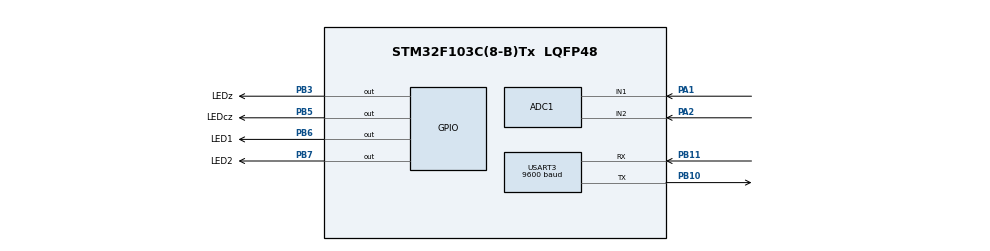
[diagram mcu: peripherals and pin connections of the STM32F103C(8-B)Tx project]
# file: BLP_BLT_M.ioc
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ADC1.Channel-0\#ChannelRegularConversion=ADC_CHANNEL_1
ADC1.Channel-1\#ChannelRegularConversion=ADC_CHANNEL_2
ADC1.ContinuousConvMode=ENABLE
ADC1.EnableInjectedConversion=ENABLE
ADC1.NbrOfConversion=2
ADC1.NbrOfConversionFlag=1
ADC1.Rank-0\#ChannelRegularConversion=1
ADC1.Rank-1\#ChannelRegularConversion=2
ADC1.SamplingTime-0\#ChannelRegularConversion=ADC_SAMPLETIME_1CYCLE_5
ADC1.SamplingTime-1\#ChannelRegularConversion=ADC_SAMPLETIME_1CYCLE_5
ADC1.master=1
Mcu.Family=STM32F1
Mcu.Name=STM32F103C(8-B)Tx
Mcu.Package=LQFP48
NVIC.ADC1_2_IRQn=true\:0\:0\:false\:false\:true\:true\:true\:true
NVIC.PriorityGroup=NVIC_PRIORITYGROUP_4
NVIC.USART3_IRQn=true\:0\:0\:false\:false\:true\:true\:true\:true
PA1.Signal=ADCx_IN1
PA13.Mode=Serial_Wire
PA13.Signal=SYS_JTMS-SWDIO
PA14.Mode=Serial_Wire
PA14.Signal=SYS_JTCK-SWCLK
PA2.Signal=ADCx_IN2
PB10.Mode=Asynchronous
PB10.Signal=USART3_TX
PB11.Mode=Asynchronous
PB11.Signal=USART3_RX
PB3.GPIO_Label=LEDz
PB3.Signal=GPIO_Output
PB5.GPIO_Label=LEDcz
PB5.Signal=GPIO_Output
PB6.GPIO_Label=LED1
PB6.Signal=GPIO_Output
PB7.GPIO_Label=LED2
PB7.Signal=GPIO_Output
PD0-OSC_IN.Mode=HSE-External-Oscillator
PD0-OSC_IN.Signal=RCC_OSC_IN
PD1-OSC_OUT.Mode=HSE-External-Oscillator
PD1-OSC_OUT.Signal=RCC_OSC_OUT
ProjectManager.HeapSize=0x200
ProjectManager.StackSize=0x400
ProjectManager.TargetToolchain=STM32CubeIDE
RCC.APB1Freq_Value=8000000
RCC.APB2Freq_Value=8000000
SH.ADCx_IN1.0=ADC1_IN1,IN1
SH.ADCx_IN2.0=ADC1_IN2,IN2
USART3.BaudRate=9600
USART3.VirtualMode=VM_ASYNC
board=custom

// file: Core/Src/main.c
/* USER CODE BEGIN Header */
/**
  ******************************************************************************
  * @file           : main.c
  * @brief          : Main program body
  ******************************************************************************
  * @attention
  *
  * Copyright (c) 2023 STMicroelectronics.
  * All rights reserved.
  *
  * This software is licensed under terms that can be found in the LICENSE file
  * in the root directory of this software component.
  * If no LICENSE file comes with this software, it is provided AS-IS.
  *
  ******************************************************************************
  */
/* USER CODE END Header */
#include "main.h"

/* USER CODE BEGIN Includes */
#include <string.h>
//#define BUFFER_LEN 1
/* USER CODE END Includes */

ADC_HandleTypeDef hadc1;

UART_HandleTypeDef huart3;

void SystemClock_Config(void);
static void MX_GPIO_Init(void);
static void MX_ADC1_Init(void);
static void MX_USART3_UART_Init(void);

/* USER CODE BEGIN 0 */

UART_HandleTypeDef huart1;

#define BUFFER_LEN 1

uint8_t TX_BUFFER[BUFFER_LEN] = {0};
uint8_t RX_BUFFER[BUFFER_LEN] = {0};

/* USER CODE END 0 */

int main(void)
{

  /* MCU Configuration--------------------------------------------------------*/

  /* Reset of all peripherals, Initializes the Flash interface and the Systick. */
  HAL_Init();

  /* Configure the system clock */
  SystemClock_Config();

  /* Initialize all configured peripherals */
  MX_GPIO_Init();
  MX_ADC1_Init();
  MX_USART3_UART_Init();
  /* USER CODE BEGIN 2 */

  uint16_t PWMX;
  uint16_t PWMY;

  uint16_t ADC_VAL[0];

  ADC_ChannelConfTypeDef sConfig = {0};

  void ADC_Select_CH1(){
  sConfig.Channel = ADC_CHANNEL_1;
    sConfig.Rank = ADC_REGULAR_RANK_1;
    sConfig.SamplingTime = ADC_SAMPLETIME_1CYCLE_5;
    if (HAL_ADC_ConfigChannel(&hadc1, &sConfig) != HAL_OK)
    {
      Error_Handler();
    }
  }

  void ADC_Select_CH2(){
    sConfig.Channel = ADC_CHANNEL_2;
      sConfig.Rank = ADC_REGULAR_RANK_1;
      sConfig.SamplingTime = ADC_SAMPLETIME_1CYCLE_5;
      if (HAL_ADC_ConfigChannel(&hadc1, &sConfig) != HAL_OK)
      {
        Error_Handler();
      }
    }

  HAL_UART_Transmit_IT(&huart3, TX_BUFFER, BUFFER_LEN);

  /* USER CODE END 2 */

  /* Infinite loop */
  /* USER CODE BEGIN WHILE */
  while (1)
  {
	  TX_BUFFER[0] = '0';

	  ADC_Select_CH1();
	  HAL_ADC_Start(&hadc1);
	  HAL_ADC_PollForConversion(&hadc1,1);
	  ADC_VAL[1] = HAL_ADC_GetValue(&hadc1);
	  PWMX = 50 + ADC_VAL[1]/20.5;
	  HAL_ADC_Stop(&hadc1);

	  ADC_Select_CH2();
	  HAL_ADC_Start(&hadc1);
	  HAL_ADC_PollForConversion(&hadc1,1);
	  ADC_VAL[2] = HAL_ADC_GetValue(&hadc1);
	  PWMY = 50 + ADC_VAL[2]/20.5;
	  HAL_ADC_Stop(&hadc1);

	    if(PWMX < 130){
	  	  	  	TX_BUFFER[0] = '1';
	  	  	  		  	   	  }

	  	if(PWMX > 170){
	  	  	  	TX_BUFFER[0] = '2';
	  	  	  		  	    }

	  	if(PWMY < 130){
	  		  	TX_BUFFER[0] = '3';
	  		  	 	}

	  	 if(PWMY > 170){
	  		  	TX_BUFFER[0] = '4';
	  		  	 	}

	  	HAL_UART_Transmit(&huart3, TX_BUFFER, 1, 10);

	  	HAL_Delay(10);

    /* USER CODE END WHILE */

  }
}

void SystemClock_Config(void)
{
  RCC_OscInitTypeDef RCC_OscInitStruct = {0};
  RCC_ClkInitTypeDef RCC_ClkInitStruct = {0};
  RCC_PeriphCLKInitTypeDef PeriphClkInit = {0};

  /** Initializes the RCC Oscillators according to the specified parameters
  * in the RCC_OscInitTypeDef structure.
  */
  RCC_OscInitStruct.OscillatorType = RCC_OSCILLATORTYPE_HSI;
  RCC_OscInitStruct.HSIState = RCC_HSI_ON;
  RCC_OscInitStruct.HSICalibrationValue = RCC_HSICALIBRATION_DEFAULT;
  RCC_OscInitStruct.PLL.PLLState = RCC_PLL_NONE;
  if (HAL_RCC_OscConfig(&RCC_OscInitStruct) != HAL_OK)
  {
    Error_Handler();
  }

  /** Initializes the CPU, AHB and APB buses clocks
  */
  RCC_ClkInitStruct.ClockType = RCC_CLOCKTYPE_HCLK|RCC_CLOCKTYPE_SYSCLK
                              |RCC_CLOCKTYPE_PCLK1|RCC_CLOCKTYPE_PCLK2;
  RCC_ClkInitStruct.SYSCLKSource = RCC_SYSCLKSOURCE_HSI;
  RCC_ClkInitStruct.AHBCLKDivider = RCC_SYSCLK_DIV1;
  RCC_ClkInitStruct.APB1CLKDivider = RCC_HCLK_DIV1;
  RCC_ClkInitStruct.APB2CLKDivider = RCC_HCLK_DIV1;

  if (HAL_RCC_ClockConfig(&RCC_ClkInitStruct, FLASH_LATENCY_0) != HAL_OK)
  {
    Error_Handler();
  }
  PeriphClkInit.PeriphClockSelection = RCC_PERIPHCLK_ADC;
  PeriphClkInit.AdcClockSelection = RCC_ADCPCLK2_DIV2;
  if (HAL_RCCEx_PeriphCLKConfig(&PeriphClkInit) != HAL_OK)
  {
    Error_Handler();
  }
}

static void MX_ADC1_Init(void)
{

  ADC_ChannelConfTypeDef sConfig = {0};

  /** Common config
  */
  hadc1.Instance = ADC1;
  hadc1.Init.ScanConvMode = ADC_SCAN_ENABLE;
  hadc1.Init.ContinuousConvMode = ENABLE;
  hadc1.Init.DiscontinuousConvMode = DISABLE;
  hadc1.Init.ExternalTrigConv = ADC_SOFTWARE_START;
  hadc1.Init.DataAlign = ADC_DATAALIGN_RIGHT;
  hadc1.Init.NbrOfConversion = 1;
  if (HAL_ADC_Init(&hadc1) != HAL_OK)
  {
    Error_Handler();
  }

  /** Configure Regular Channel
  */
  sConfig.Channel = ADC_CHANNEL_1;
  sConfig.Rank = ADC_REGULAR_RANK_1;
  sConfig.SamplingTime = ADC_SAMPLETIME_1CYCLE_5;
  if (HAL_ADC_ConfigChannel(&hadc1, &sConfig) != HAL_OK)
  {
    Error_Handler();
  }

  /** Configure Regular Channel
  */
  sConfig.Channel = ADC_CHANNEL_2;
  sConfig.Rank = ADC_REGULAR_RANK_2;
  if (HAL_ADC_ConfigChannel(&hadc1, &sConfig) != HAL_OK)
  {
    Error_Handler();
  }

}

static void MX_USART3_UART_Init(void)
{

  huart3.Instance = USART3;
  huart3.Init.BaudRate = 9600;
  huart3.Init.WordLength = UART_WORDLENGTH_8B;
  huart3.Init.StopBits = UART_STOPBITS_1;
  huart3.Init.Parity = UART_PARITY_NONE;
  huart3.Init.Mode = UART_MODE_TX_RX;
  huart3.Init.HwFlowCtl = UART_HWCONTROL_NONE;
  huart3.Init.OverSampling = UART_OVERSAMPLING_16;
  if (HAL_UART_Init(&huart3) != HAL_OK)
  {
    Error_Handler();
  }

}

static void MX_GPIO_Init(void)
{
  GPIO_InitTypeDef GPIO_InitStruct = {0};

  /* GPIO Ports Clock Enable */
  __HAL_RCC_GPIOD_CLK_ENABLE();
  __HAL_RCC_GPIOA_CLK_ENABLE();
  __HAL_RCC_GPIOB_CLK_ENABLE();

  /*Configure GPIO pin Output Level */
  HAL_GPIO_WritePin(GPIOB, LEDz_Pin|LEDcz_Pin|LED1_Pin|LED2_Pin, GPIO_PIN_RESET);

  /*Configure GPIO pins : LEDz_Pin LEDcz_Pin LED1_Pin LED2_Pin */
  GPIO_InitStruct.Pin = LEDz_Pin|LEDcz_Pin|LED1_Pin|LED2_Pin;
  GPIO_InitStruct.Mode = GPIO_MODE_OUTPUT_PP;
  GPIO_InitStruct.Pull = GPIO_NOPULL;
  GPIO_InitStruct.Speed = GPIO_SPEED_FREQ_LOW;
  HAL_GPIO_Init(GPIOB, &GPIO_InitStruct);

}

/* USER CODE BEGIN 4 */

void HAL_UART_RxCpltCallback(UART_HandleTypeDef *huart)
{
    if(huart->Instance == huart1.Instance)
    {
    HAL_UART_Receive_IT(&huart1, RX_BUFFER, BUFFER_LEN);
    }
}

/* USER CODE END 4 */

void Error_Handler(void)
{
  __disable_irq();
  while (1)
  {
  }
}
